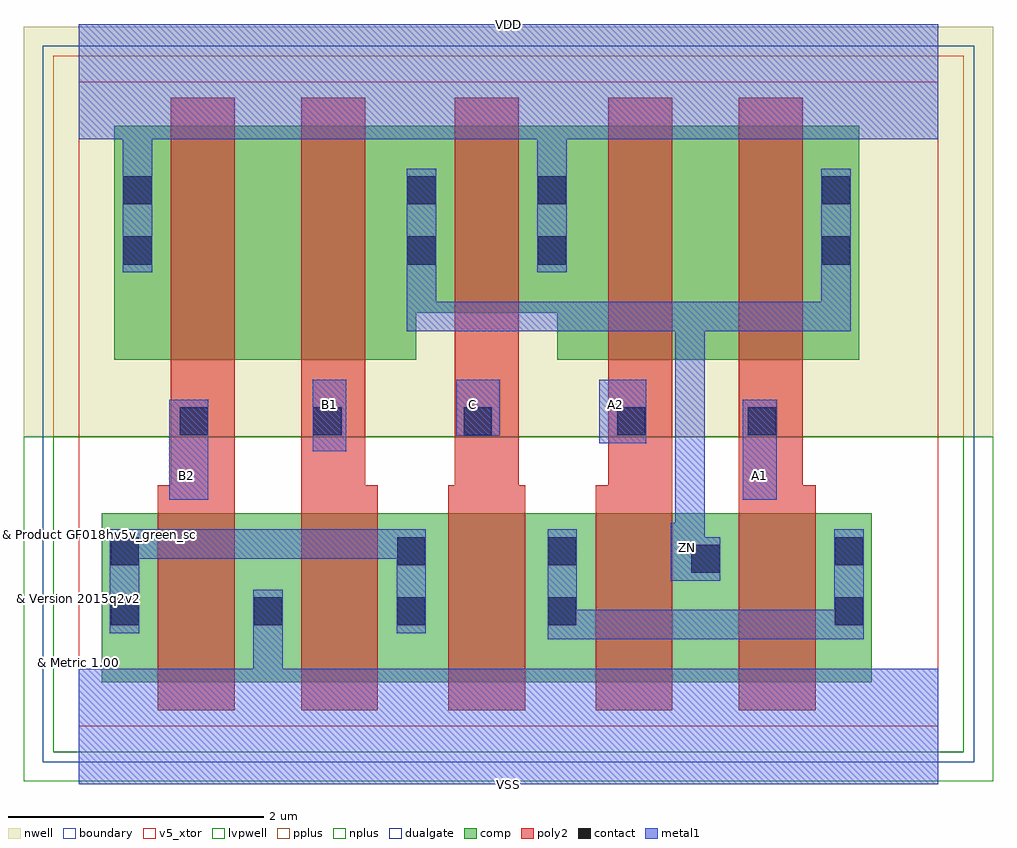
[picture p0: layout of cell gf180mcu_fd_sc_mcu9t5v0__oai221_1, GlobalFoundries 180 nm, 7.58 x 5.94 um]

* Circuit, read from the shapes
.subckt gf180mcu_fd_sc_mcu9t5v0__oai221_1 A1 A2 B1 B2 C VDD VSS ZN
XM1 VSS B2 n1 VSUBS nfet_05v0 w=1.32u l=0.6u
XM2 n1 B1 VSS VSUBS nfet_05v0 w=1.32u l=0.6u
XM3 n2 C n1 VSUBS nfet_05v0 w=1.32u l=0.6u
XM4 ZN A2 n2 VSUBS nfet_05v0 w=1.32u l=0.6u
XM5 n2 A1 ZN VSUBS nfet_05v0 w=1.32u l=0.6u
XM6 n3 B2 VDD n4 pfet_05v0 w=1.83u l=0.5u
XM7 ZN B1 n3 n4 pfet_05v0 w=1.83u l=0.5u
XM8 VDD C ZN n4 pfet_05v0 w=1.46u l=0.5u
XM9 n5 A2 VDD n4 pfet_05v0 w=1.83u l=0.5u
XM10 ZN A1 n5 n4 pfet_05v0 w=1.83u l=0.5u
.ends

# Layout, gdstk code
import gdstk
lib = gdstk.Library(unit=1e-6, precision=1e-09)
def R(c, l, rs):  # rectangles x0, y0, x1, y1
    for r in rs: c.add(gdstk.rectangle(r[:2], r[2:], *l))
def A(c, l, x, y, w, h, nx, ny, dx, dy):  # array of equal rectangles
    R(c, l, [(x+i*dx, y+j*dy, x+i*dx+w, y+j*dy+h) for i in range(nx) for j in range(ny)])
def P(c, l, *ps):  # polygons
    for p in ps: c.add(gdstk.Polygon(p, *l))
boundary = (0, 0)
nwell = (21, 0)
comp = (22, 0)
poly2 = (30, 0)
pplus = (31, 0)
nplus = (32, 0)
contact = (33, 0)
metal1 = (34, 0)
dualgate = (55, 0)
v5_xtor = (112, 1)
lvpwell = (204, 0)

gf180mcu_fd_sc_mcu9t5v0_ = lib.new_cell('gf180mcu_fd_sc_mcu9t5v0__oai221_1')
R(gf180mcu_fd_sc_mcu9t5v0_, boundary, [(0,0,6.72,5.04)])
R(gf180mcu_fd_sc_mcu9t5v0_, nwell, [(-0.43,2.265,7.15,5.47)])
R(gf180mcu_fd_sc_mcu9t5v0_, comp, [(0.18,0.345,6.2,1.665)])
P(gf180mcu_fd_sc_mcu9t5v0_, comp, [(0.28,2.865),(0.28,4.695),(6.1,4.695),(6.1,2.865),(3.74,2.865),(3.74,3.235),(2.64,3.235),(2.64,2.865)])
P(gf180mcu_fd_sc_mcu9t5v0_, poly2, [(0.62,0.125),(0.62,1.885),(0.72,1.885),(0.72,4.915),(1.22,4.915),(1.22,0.125)],
  [(1.74,0.125),(1.74,4.915),(2.24,4.915),(2.24,1.885),(2.34,1.885),(2.34,0.125)],
  [(2.89,0.125),(2.89,1.885),(2.94,1.885),(2.94,4.915),(3.44,4.915),(3.44,1.885),(3.49,1.885),(3.49,0.125)],
  [(4.04,0.125),(4.04,1.885),(4.14,1.885),(4.14,4.915),(4.64,4.915),(4.64,0.125)],
  [(5.16,0.125),(5.16,4.915),(5.66,4.915),(5.66,1.885),(5.76,1.885),(5.76,0.125)])
R(gf180mcu_fd_sc_mcu9t5v0_, pplus, [(-0.2,2.265,6.92,5.24)])
R(gf180mcu_fd_sc_mcu9t5v0_, nplus, [(-0.2,-0.2,6.92,2.265)])
A(gf180mcu_fd_sc_mcu9t5v0_, contact, 0.25, 0.79, 0.22, 0.22, 3, 1, 1.12, 0)
R(gf180mcu_fd_sc_mcu9t5v0_, contact, [(3.67,0.79,3.89,1.01), (5.91,0.79,6.13,1.01), (4.79,1.2,5.01,1.42), (0.25,1.26,0.47,1.48), (2.49,1.26,2.71,1.48), (3.67,1.26,3.89,1.48), (5.91,1.26,6.13,1.48), (0.79,2.275,1.01,2.495), (1.835,2.275,2.055,2.495), (3.01,2.275,3.23,2.495), (4.21,2.275,4.43,2.495), (5.23,2.275,5.45,2.495), (0.35,3.61,0.57,3.83), (2.57,3.61,2.79,3.83), (3.59,3.61,3.81,3.83), (5.81,3.61,6.03,3.83), (0.35,4.08,0.57,4.3), (2.57,4.08,2.79,4.3), (3.59,4.08,3.81,4.3), (5.81,4.08,6.03,4.3)])
R(gf180mcu_fd_sc_mcu9t5v0_, metal1, [(0.71,1.77,1.015,2.555), (5.19,1.77,5.455,2.555), (1.83,2.15,2.09,2.71), (4.07,2.215,4.435,2.71), (2.95,2.27,3.29,2.71)])
P(gf180mcu_fd_sc_mcu9t5v0_, metal1, [(0.245,0.73),(0.245,1.54),(2.715,1.54),(2.715,0.73),(2.485,0.73),(2.485,1.31),(0.475,1.31),(0.475,0.73)],
  [(4.63,1.14),(4.63,1.59),(4.665,1.59),(4.665,3.09),(2.565,3.09),(2.565,4.36),(2.795,4.36),(2.795,3.32),(5.805,3.32),(5.805,4.36),(6.035,4.36),(6.035,3.09),(4.895,3.09),(4.895,1.48),(5.015,1.48),(5.015,1.14)],
  [(3.665,0.68),(3.665,1.54),(3.895,1.54),(3.895,0.91),(5.905,0.91),(5.905,1.54),(6.135,1.54),(6.135,0.68)],
  [(0,-0.45),(0,0.45),(1.365,0.45),(1.365,1.07),(1.595,1.07),(1.595,0.45),(6.72,0.45),(6.72,-0.45)],
  [(0.345,3.55),(0.345,4.59),(0,4.59),(0,5.49),(6.72,5.49),(6.72,4.59),(3.815,4.59),(3.815,3.55),(3.585,3.55),(3.585,4.59),(0.575,4.59),(0.575,3.55)])
R(gf180mcu_fd_sc_mcu9t5v0_, dualgate, [(-0.28,-0.28,7,5.32)])
R(gf180mcu_fd_sc_mcu9t5v0_, v5_xtor, [(0,0,6.72,5.04)])
R(gf180mcu_fd_sc_mcu9t5v0_, lvpwell, [(-0.43,-0.43,7.15,2.265)])
gf180mcu_fd_sc_mcu9t5v0_.add(gdstk.Label('A1', (5.32,1.96), layer=34, texttype=10))
gf180mcu_fd_sc_mcu9t5v0_.add(gdstk.Label('A2', (4.2,2.52), layer=34, texttype=10))
gf180mcu_fd_sc_mcu9t5v0_.add(gdstk.Label('B1', (1.96,2.52), layer=34, texttype=10))
gf180mcu_fd_sc_mcu9t5v0_.add(gdstk.Label('B2', (0.84,1.96), layer=34, texttype=10))
gf180mcu_fd_sc_mcu9t5v0_.add(gdstk.Label('C', (3.08,2.52), layer=34, texttype=10))
gf180mcu_fd_sc_mcu9t5v0_.add(gdstk.Label('VDD', (3.36,5.49), layer=34, texttype=10))
gf180mcu_fd_sc_mcu9t5v0_.add(gdstk.Label('VSS', (3.36,-0.45), layer=34, texttype=10))
gf180mcu_fd_sc_mcu9t5v0_.add(gdstk.Label('ZN', (4.76,1.4), layer=34, texttype=10))
gf180mcu_fd_sc_mcu9t5v0_.add(gdstk.Label('& Vendor GLOBALFOUNDRIES', (0,2), layer=63, texttype=63))
gf180mcu_fd_sc_mcu9t5v0_.add(gdstk.Label('& Product GF018hv5v_green_sc9', (0,1.5), layer=63, texttype=63))
gf180mcu_fd_sc_mcu9t5v0_.add(gdstk.Label('& Version 2015q2v2', (0,1), layer=63, texttype=63))
gf180mcu_fd_sc_mcu9t5v0_.add(gdstk.Label('& Metric 1.00', (0,0.5), layer=63, texttype=63))

lib.write_gds('gf180mcu_fd_sc_mcu9t5v0__oai221_1.gds')
